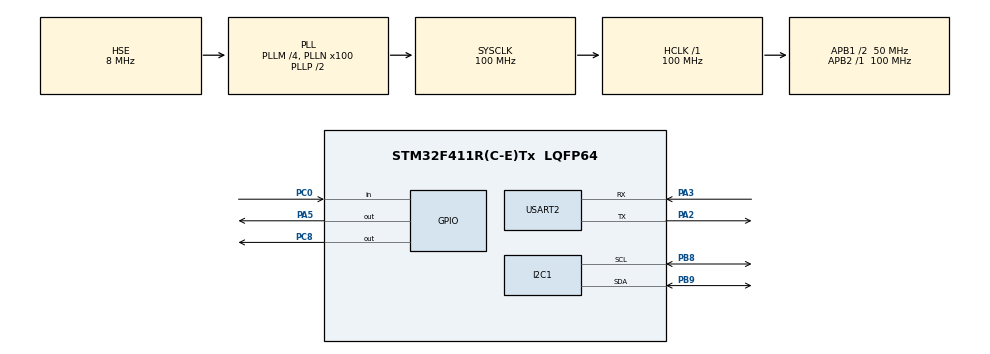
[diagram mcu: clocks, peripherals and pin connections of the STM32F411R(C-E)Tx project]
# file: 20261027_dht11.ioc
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Mcu.Family=STM32F4
Mcu.Name=STM32F411R(C-E)Tx
Mcu.Package=LQFP64
NVIC.PriorityGroup=NVIC_PRIORITYGROUP_4
PA13.Mode=Serial_Wire
PA13.Signal=SYS_JTMS-SWDIO
PA14.Mode=Serial_Wire
PA14.Signal=SYS_JTCK-SWCLK
PA2.Mode=Asynchronous
PA2.Signal=USART2_TX
PA3.Mode=Asynchronous
PA3.Signal=USART2_RX
PA5.Signal=GPIO_Output
PB8.Mode=I2C
PB8.Signal=I2C1_SCL
PB9.Mode=I2C
PB9.Signal=I2C1_SDA
PC0.Signal=GPIO_Input
PC8.Signal=GPIO_Output
PH0\ -\ OSC_IN.Mode=HSE-External-Oscillator
PH0\ -\ OSC_IN.Signal=RCC_OSC_IN
PH1\ -\ OSC_OUT.Mode=HSE-External-Oscillator
PH1\ -\ OSC_OUT.Signal=RCC_OSC_OUT
ProjectManager.HeapSize=0x200
ProjectManager.StackSize=0x400
ProjectManager.TargetToolchain=STM32CubeIDE
RCC.48MHZClocksFreq_Value=50000000
RCC.AHBFreq_Value=100000000
RCC.APB1CLKDivider=RCC_HCLK_DIV2
RCC.APB1Freq_Value=50000000
RCC.APB1TimFreq_Value=100000000
RCC.APB2Freq_Value=100000000
RCC.APB2TimFreq_Value=100000000
RCC.CortexFreq_Value=100000000
RCC.HCLKFreq_Value=100000000
RCC.HSE_VALUE=8000000
RCC.HSI_VALUE=16000000
RCC.LSE_VALUE=32768
RCC.PLLM=4
RCC.PLLN=100
RCC.PLLSourceVirtual=RCC_PLLSOURCE_HSE
RCC.SYSCLKFreq_VALUE=100000000
RCC.SYSCLKSource=RCC_SYSCLKSOURCE_PLLCLK
RCC.VCOOutputFreq_Value=200000000
USART2.VirtualMode=VM_ASYNC
board=custom

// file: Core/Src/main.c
/* USER CODE BEGIN Header */
/**
 ******************************************************************************
 * @file           : main.c
 * @brief          : Main program body
 ******************************************************************************
 * @attention
 *
 * Copyright (c) 2026 STMicroelectronics.
 * All rights reserved.
 *
 * This software is licensed under terms that can be found in the LICENSE file
 * in the root directory of this software component.
 * If no LICENSE file comes with this software, it is provided AS-IS.
 *
 ******************************************************************************
 */
/* USER CODE END Header */
#include "main.h"

/* USER CODE BEGIN Includes */
#include <stdio.h>
#include "driver/DHT11/DHT11.h"
#include "driver/lcd/lcd.h"
#include "ap/ap_main.h"
/* USER CODE END Includes */

I2C_HandleTypeDef hi2c1;

UART_HandleTypeDef huart2;

void SystemClock_Config(void);
static void MX_GPIO_Init(void);
static void MX_USART2_UART_Init(void);
static void MX_I2C1_Init(void);

/* USER CODE BEGIN 0 */
int __io_putchar(int ch)
{
	HAL_UART_Transmit(&huart2, (uint8_t *)&ch, 1, HAL_MAX_DELAY);
	return ch;
}

void power_indicator()
{
	static uint32_t prev_time = 0;
	if (HAL_GetTick() - prev_time < 200) {
		return;
	}
	prev_time = HAL_GetTick();

	HAL_GPIO_TogglePin(GPIOA, GPIO_PIN_5);
}

/* USER CODE END 0 */

int main(void)
{

  /* MCU Configuration--------------------------------------------------------*/

  /* Reset of all peripherals, Initializes the Flash interface and the Systick. */
  HAL_Init();

  /* Configure the system clock */
  SystemClock_Config();

  /* Initialize all configured peripherals */
  MX_GPIO_Init();
  MX_USART2_UART_Init();
  MX_I2C1_Init();
  /* USER CODE BEGIN 2 */
	printf("Hello STM32!\n");
	ap_main();
  /* USER CODE END 2 */

  /* Infinite loop */
  /* USER CODE BEGIN WHILE */

//		power_indicator();

	while (1)
	{

    /* USER CODE END WHILE */

	}
}

void SystemClock_Config(void)
{
  RCC_OscInitTypeDef RCC_OscInitStruct = {0};
  RCC_ClkInitTypeDef RCC_ClkInitStruct = {0};

  /** Configure the main internal regulator output voltage
  */
  __HAL_RCC_PWR_CLK_ENABLE();
  __HAL_PWR_VOLTAGESCALING_CONFIG(PWR_REGULATOR_VOLTAGE_SCALE1);

  /** Initializes the RCC Oscillators according to the specified parameters
  * in the RCC_OscInitTypeDef structure.
  */
  RCC_OscInitStruct.OscillatorType = RCC_OSCILLATORTYPE_HSE;
  RCC_OscInitStruct.HSEState = RCC_HSE_ON;
  RCC_OscInitStruct.PLL.PLLState = RCC_PLL_ON;
  RCC_OscInitStruct.PLL.PLLSource = RCC_PLLSOURCE_HSE;
  RCC_OscInitStruct.PLL.PLLM = 4;
  RCC_OscInitStruct.PLL.PLLN = 100;
  RCC_OscInitStruct.PLL.PLLP = RCC_PLLP_DIV2;
  RCC_OscInitStruct.PLL.PLLQ = 4;
  if (HAL_RCC_OscConfig(&RCC_OscInitStruct) != HAL_OK)
  {
    Error_Handler();
  }

  /** Initializes the CPU, AHB and APB buses clocks
  */
  RCC_ClkInitStruct.ClockType = RCC_CLOCKTYPE_HCLK|RCC_CLOCKTYPE_SYSCLK
                              |RCC_CLOCKTYPE_PCLK1|RCC_CLOCKTYPE_PCLK2;
  RCC_ClkInitStruct.SYSCLKSource = RCC_SYSCLKSOURCE_PLLCLK;
  RCC_ClkInitStruct.AHBCLKDivider = RCC_SYSCLK_DIV1;
  RCC_ClkInitStruct.APB1CLKDivider = RCC_HCLK_DIV2;
  RCC_ClkInitStruct.APB2CLKDivider = RCC_HCLK_DIV1;

  if (HAL_RCC_ClockConfig(&RCC_ClkInitStruct, FLASH_LATENCY_3) != HAL_OK)
  {
    Error_Handler();
  }
}

static void MX_I2C1_Init(void)
{

  hi2c1.Instance = I2C1;
  hi2c1.Init.ClockSpeed = 100000;
  hi2c1.Init.DutyCycle = I2C_DUTYCYCLE_2;
  hi2c1.Init.OwnAddress1 = 0;
  hi2c1.Init.AddressingMode = I2C_ADDRESSINGMODE_7BIT;
  hi2c1.Init.DualAddressMode = I2C_DUALADDRESS_DISABLE;
  hi2c1.Init.OwnAddress2 = 0;
  hi2c1.Init.GeneralCallMode = I2C_GENERALCALL_DISABLE;
  hi2c1.Init.NoStretchMode = I2C_NOSTRETCH_DISABLE;
  if (HAL_I2C_Init(&hi2c1) != HAL_OK)
  {
    Error_Handler();
  }

}

static void MX_USART2_UART_Init(void)
{

  huart2.Instance = USART2;
  huart2.Init.BaudRate = 115200;
  huart2.Init.WordLength = UART_WORDLENGTH_8B;
  huart2.Init.StopBits = UART_STOPBITS_1;
  huart2.Init.Parity = UART_PARITY_NONE;
  huart2.Init.Mode = UART_MODE_TX_RX;
  huart2.Init.HwFlowCtl = UART_HWCONTROL_NONE;
  huart2.Init.OverSampling = UART_OVERSAMPLING_16;
  if (HAL_UART_Init(&huart2) != HAL_OK)
  {
    Error_Handler();
  }

}

static void MX_GPIO_Init(void)
{
  GPIO_InitTypeDef GPIO_InitStruct = {0};

  /* GPIO Ports Clock Enable */
  __HAL_RCC_GPIOH_CLK_ENABLE();
  __HAL_RCC_GPIOC_CLK_ENABLE();
  __HAL_RCC_GPIOA_CLK_ENABLE();
  __HAL_RCC_GPIOB_CLK_ENABLE();

  /*Configure GPIO pin Output Level */
  HAL_GPIO_WritePin(GPIOA, GPIO_PIN_5, GPIO_PIN_RESET);

  /*Configure GPIO pin Output Level */
  HAL_GPIO_WritePin(GPIOC, GPIO_PIN_8, GPIO_PIN_RESET);

  /*Configure GPIO pin : PC0 */
  GPIO_InitStruct.Pin = GPIO_PIN_0;
  GPIO_InitStruct.Mode = GPIO_MODE_INPUT;
  GPIO_InitStruct.Pull = GPIO_NOPULL;
  HAL_GPIO_Init(GPIOC, &GPIO_InitStruct);

  /*Configure GPIO pin : PA5 */
  GPIO_InitStruct.Pin = GPIO_PIN_5;
  GPIO_InitStruct.Mode = GPIO_MODE_OUTPUT_PP;
  GPIO_InitStruct.Pull = GPIO_NOPULL;
  GPIO_InitStruct.Speed = GPIO_SPEED_FREQ_LOW;
  HAL_GPIO_Init(GPIOA, &GPIO_InitStruct);

  /*Configure GPIO pin : PC8 */
  GPIO_InitStruct.Pin = GPIO_PIN_8;
  GPIO_InitStruct.Mode = GPIO_MODE_OUTPUT_PP;
  GPIO_InitStruct.Pull = GPIO_NOPULL;
  GPIO_InitStruct.Speed = GPIO_SPEED_FREQ_LOW;
  HAL_GPIO_Init(GPIOC, &GPIO_InitStruct);

}

void Error_Handler(void)
{
	__disable_irq();
	while (1)
	{
	}
}
